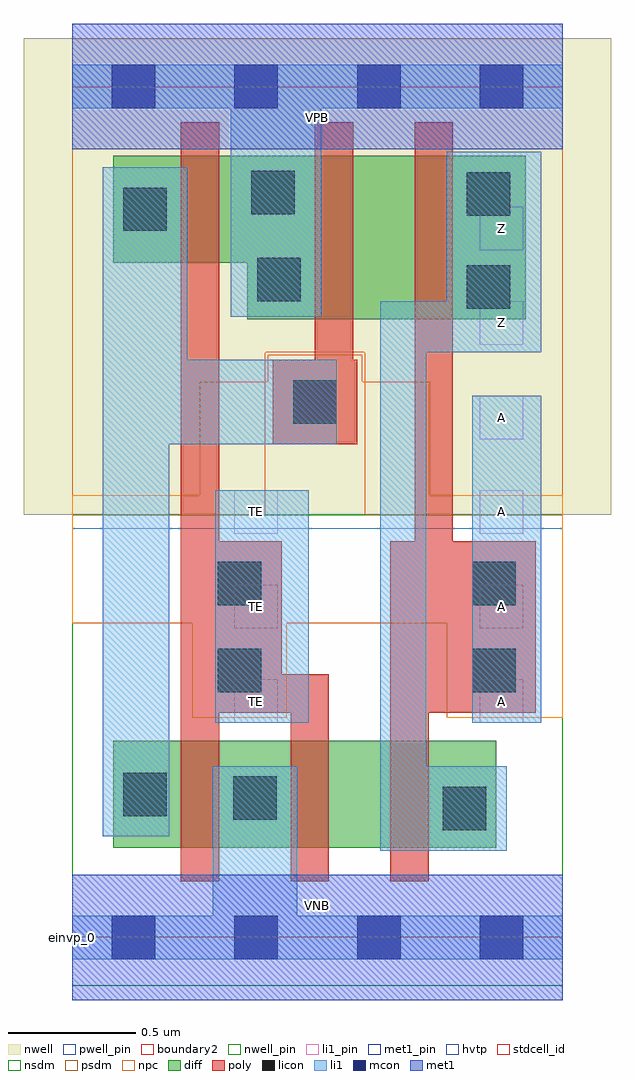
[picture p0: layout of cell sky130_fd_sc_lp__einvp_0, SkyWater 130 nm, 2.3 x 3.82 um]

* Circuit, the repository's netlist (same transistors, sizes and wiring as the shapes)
* Copyright 2020 The SkyWater PDK Authors
*
* Licensed under the Apache License, Version 2.0 (the "License");
* you may not use this file except in compliance with the License.
* You may obtain a copy of the License at
*
*     https://www.apache.org/licenses/LICENSE-2.0
*
* Unless required by applicable law or agreed to in writing, software
* distributed under the License is distributed on an "AS IS" BASIS,
* WITHOUT WARRANTIES OR CONDITIONS OF ANY KIND, either express or implied.
* See the License for the specific language governing permissions and
* limitations under the License.
*
* SPDX-License-Identifier: Apache-2.0

.SUBCKT sky130_fd_sc_lp__einvp_0 A TE VGND VNB VPB VPWR Z
*.PININFO A:I TE:I VGND:I VNB:I VPB:I VPWR:I Z:O
MMN0 Z A sndA VNB sky130_fd_pr__nfet_01v8 m=1 w=0.42U l=0.15U mult=1 sa=0.265 sb=0.265
+ sd=0.28 area=0.063 perim=1.14
MMN1 sndA TE VGND VNB sky130_fd_pr__nfet_01v8 m=1 w=0.42U l=0.15U mult=1 sa=0.265
+ sb=0.265 sd=0.28 area=0.063 perim=1.14
MMIN1 TEB TE VGND VNB sky130_fd_pr__nfet_01v8 m=1 w=0.42U l=0.15U mult=1 sa=0.265
+ sb=0.265 sd=0.28 area=0.063 perim=1.14
MMP0 VPWR TEB sndTEB VPB sky130_fd_pr__pfet_01v8_hvt m=1 w=0.64U l=0.15U mult=1
+ sa=0.265 sb=0.265 sd=0.28 area=0.063 perim=1.14
MMP1 sndTEB A Z VPB sky130_fd_pr__pfet_01v8_hvt m=1 w=0.64U l=0.15U mult=1 sa=0.265
+ sb=0.265 sd=0.28 area=0.063 perim=1.14
MMIP1 TEB TE VPWR VPB sky130_fd_pr__pfet_01v8_hvt m=1 w=0.42U l=0.15U mult=1 sa=0.265
+ sb=0.265 sd=0.28 area=0.063 perim=1.14
.ENDS sky130_fd_sc_lp__einvp_0

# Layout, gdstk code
import gdstk
lib = gdstk.Library(unit=1e-6, precision=1e-09)
def R(c, l, rs):  # rectangles x0, y0, x1, y1
    for r in rs: c.add(gdstk.rectangle(r[:2], r[2:], *l))
def A(c, l, x, y, w, h, nx, ny, dx, dy):  # array of equal rectangles
    R(c, l, [(x+i*dx, y+j*dy, x+i*dx+w, y+j*dy+h) for i in range(nx) for j in range(ny)])
def P(c, l, *ps):  # polygons
    for p in ps: c.add(gdstk.Polygon(p, *l))
nwell_pin = (64, 16)
nwell = (64, 20)
diff = (65, 20)
poly = (66, 20)
licon = (66, 44)
li1_pin = (67, 16)
li1 = (67, 20)
mcon = (67, 44)
met1_pin = (68, 16)
met1 = (68, 20)
hvtp = (78, 44)
stdcell_id = (81, 4)
nsdm = (93, 44)
psdm = (94, 20)
npc = (95, 20)
pwell_pin = (122, 16)
boundary2 = (236, 0)

sky130_fd_sc_lp__einvp_0 = lib.new_cell('sky130_fd_sc_lp__einvp_0')
R(sky130_fd_sc_lp__einvp_0, nwell_pin, [(0,3.085,1.92,3.33)])
R(sky130_fd_sc_lp__einvp_0, nwell, [(-0.19,1.655,2.11,3.52)])
R(sky130_fd_sc_lp__einvp_0, diff, [(0.16,0.35,1.66,0.77)])
P(sky130_fd_sc_lp__einvp_0, diff, [(1.775,3.06),(0.16,3.06),(0.16,2.64),(0.685,2.64),(0.685,2.42),(1.775,2.42)])
P(sky130_fd_sc_lp__einvp_0, poly, [(1.005,1.03),(0.82,1.03),(0.82,1.55),(0.575,1.55),(0.575,3.19),(0.425,3.19),(0.425,0.22),(0.575,0.22),(0.575,0.88),(0.855,0.88),(0.855,0.22),(1.005,0.22)],
  [(1.115,2.26),(1.1,2.26),(1.1,3.19),(0.95,3.19),(0.95,2.26),(0.785,2.26),(0.785,1.93),(1.115,1.93)],
  [(1.815,1.55),(1.49,1.55),(1.49,3.19),(1.34,3.19),(1.34,1.55),(1.245,1.55),(1.245,0.22),(1.395,0.22),(1.395,0.88),(1.815,0.88)])
R(sky130_fd_sc_lp__einvp_0, licon, [(1.45,0.42,1.62,0.59), (0.63,0.46,0.8,0.63), (0.2,0.475,0.37,0.645), (0.57,0.96,0.74,1.13), (1.565,0.96,1.735,1.13), (0.57,1.3,0.74,1.47), (1.565,1.3,1.735,1.47), (0.865,2.01,1.035,2.18), (1.545,2.46,1.715,2.63), (0.725,2.49,0.895,2.66), (0.2,2.765,0.37,2.935), (1.545,2.825,1.715,2.995), (0.7,2.83,0.87,3)])
A(sky130_fd_sc_lp__einvp_0, li1_pin, 0.635, 0.84, 0.17, 0.17, 1, 3, 0, 0.37)
A(sky130_fd_sc_lp__einvp_0, li1_pin, 1.595, 0.84, 0.17, 0.17, 1, 6, 0, 0.37)
R(sky130_fd_sc_lp__einvp_0, li1, [(0.56,0.84,0.925,1.75), (1.565,0.84,1.835,2.12)])
P(sky130_fd_sc_lp__einvp_0, li1, [(0.62,2.43),(0.62,3.245),(0,3.245),(0,3.415),(1.92,3.415),(1.92,3.245),(0.975,3.245),(0.975,2.43)],
  [(0.55,0.085),(0.55,0.67),(0.88,0.67),(0.88,0.085),(1.92,0.085),(1.92,-0.085),(0,-0.085),(0,0.085)],
  [(1.205,0.34),(1.205,2.49),(1.465,2.49),(1.465,3.075),(1.835,3.075),(1.835,2.29),(1.385,2.29),(1.385,0.67),(1.7,0.67),(1.7,0.34)],
  [(0.45,2.26),(1.035,2.26),(1.035,1.93),(0.38,1.93),(0.38,0.395),(0.12,0.395),(0.12,3.015),(0.45,3.015)])
A(sky130_fd_sc_lp__einvp_0, mcon, 0.155, -0.085, 0.17, 0.17, 4, 2, 0.48, 3.33)
R(sky130_fd_sc_lp__einvp_0, met1_pin, [(0,0,1.92,0.245), (0,3.085,1.92,3.33)])
R(sky130_fd_sc_lp__einvp_0, met1, [(0,-0.245,1.92,0.245), (0,3.085,1.92,3.575)])
R(sky130_fd_sc_lp__einvp_0, hvtp, [(0,1.6,1.92,3.33)])
R(sky130_fd_sc_lp__einvp_0, stdcell_id, [(0,0,1.92,3.33)])
R(sky130_fd_sc_lp__einvp_0, nsdm, [(0,-0.19,1.92,1.655)])
P(sky130_fd_sc_lp__einvp_0, psdm, [(1.92,3.52),(0,3.52),(0,1.655),(0.755,1.655),(0.755,2.29),(1.145,2.29),(1.145,1.655),(1.92,1.655)])
P(sky130_fd_sc_lp__einvp_0, npc, [(1.92,1.73),(1.4,1.73),(1.4,2.175),(1.135,2.175),(1.135,2.28),(0.765,2.28),(0.765,2.175),(0.5,2.175),(0.5,1.73),(0,1.73),(0,1.23),(0.47,1.23),(0.47,0.86),(0.84,0.86),(0.84,1.23),(1.465,1.23),(1.465,0.86),(1.92,0.86)])
R(sky130_fd_sc_lp__einvp_0, pwell_pin, [(0,0,1.92,0.245)])
R(sky130_fd_sc_lp__einvp_0, boundary2, [(0,0,1.92,3.33)])
sky130_fd_sc_lp__einvp_0.add(gdstk.Label('VNB', (0.96,0.123), layer=64, texttype=59))
sky130_fd_sc_lp__einvp_0.add(gdstk.Label('VPB', (0.96,3.208), layer=64, texttype=5))
sky130_fd_sc_lp__einvp_0.add(gdstk.Label('einvp_0', (0,0), layer=83, texttype=44))
sky130_fd_sc_lp__einvp_0.add(gdstk.Label('VPWR', (0.96,3.208), layer=68, texttype=5))
sky130_fd_sc_lp__einvp_0.add(gdstk.Label('VGND', (0.96,0.123), layer=68, texttype=5))
sky130_fd_sc_lp__einvp_0.add(gdstk.Label('A', (1.68,0.925), layer=67, texttype=5))
sky130_fd_sc_lp__einvp_0.add(gdstk.Label('A', (1.68,1.295), layer=67, texttype=5))
sky130_fd_sc_lp__einvp_0.add(gdstk.Label('A', (1.68,1.665), layer=67, texttype=5))
sky130_fd_sc_lp__einvp_0.add(gdstk.Label('A', (1.68,2.035), layer=67, texttype=5))
sky130_fd_sc_lp__einvp_0.add(gdstk.Label('TE', (0.72,0.925), layer=67, texttype=5))
sky130_fd_sc_lp__einvp_0.add(gdstk.Label('TE', (0.72,1.295), layer=67, texttype=5))
sky130_fd_sc_lp__einvp_0.add(gdstk.Label('TE', (0.72,1.665), layer=67, texttype=5))
sky130_fd_sc_lp__einvp_0.add(gdstk.Label('Z', (1.68,2.405), layer=67, texttype=5))
sky130_fd_sc_lp__einvp_0.add(gdstk.Label('Z', (1.68,2.775), layer=67, texttype=5))

lib.write_gds('sky130_fd_sc_lp__einvp_0.gds')
